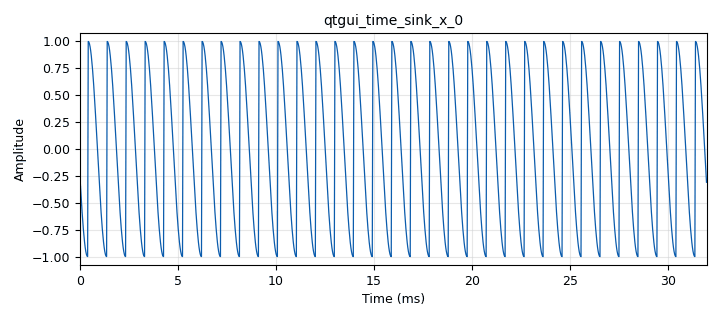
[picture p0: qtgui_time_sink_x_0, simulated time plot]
options:
  parameters:
    author: Bryan
    generate_options: qt_gui
    id: zmqPubTest
    output_language: python
    title: Testing the ZMQ Pub capabilities
  states: {}

blocks:
- name: samp_rate
  id: variable
  parameters:
    value: '32000'
  states: {}
- name: blocks_vector_to_stream_0
  id: blocks_vector_to_stream
  parameters:
    num_items: '31'
    type: float
  states: {}
- name: epy_block_0
  id: epy_block
  parameters:
    _source_code: |
      import numpy as np
      from gnuradio import gr


      class blk(gr.sync_block):  # other base classes are basic_block, decim_block, interp_block
          """Sine Wave Generator Block - Outputs 31 Values"""

          def __init__(self):  # only default arguments here
              """arguments to this function show up as parameters in GRC"""
              gr.sync_block.__init__(
                  self,
                  name='Sine Wave Generator',   # will show up in GRC
                  in_sig=None,
                  out_sig=[(np.float32, 31)]
              )
              self.angles = np.linspace(0, np.pi, 31)
              # if an attribute with the same name as a parameter is found,
              # a callback is registered (properties work, too).

          def work(self, input_items, output_items):
              """example: multiply with constant"""
              angles = np.linspace(0, np.pi, 31)
              output_items[0][:] = np.cos(self.angles)
              return len(output_items[0])
  states: {}
- name: qtgui_time_sink_x_0
  id: qtgui_time_sink_x
  parameters:
    size: '1024'
    srate: samp_rate
    type: float
  states: {}
- name: zeromq_pub_sink_0
  id: zeromq_pub_sink
  parameters:
    address: '"tcp://*:6080"'
    timeout: '100'
    type: float
    vlen: '31'
  states: {}

connections:
- [blocks_vector_to_stream_0, '0', qtgui_time_sink_x_0, '0']
- [epy_block_0, '0', blocks_vector_to_stream_0, '0']
- [epy_block_0, '0', zeromq_pub_sink_0, '0']

metadata:
  file_format: 1
  grc_version: 3.10.5.1
